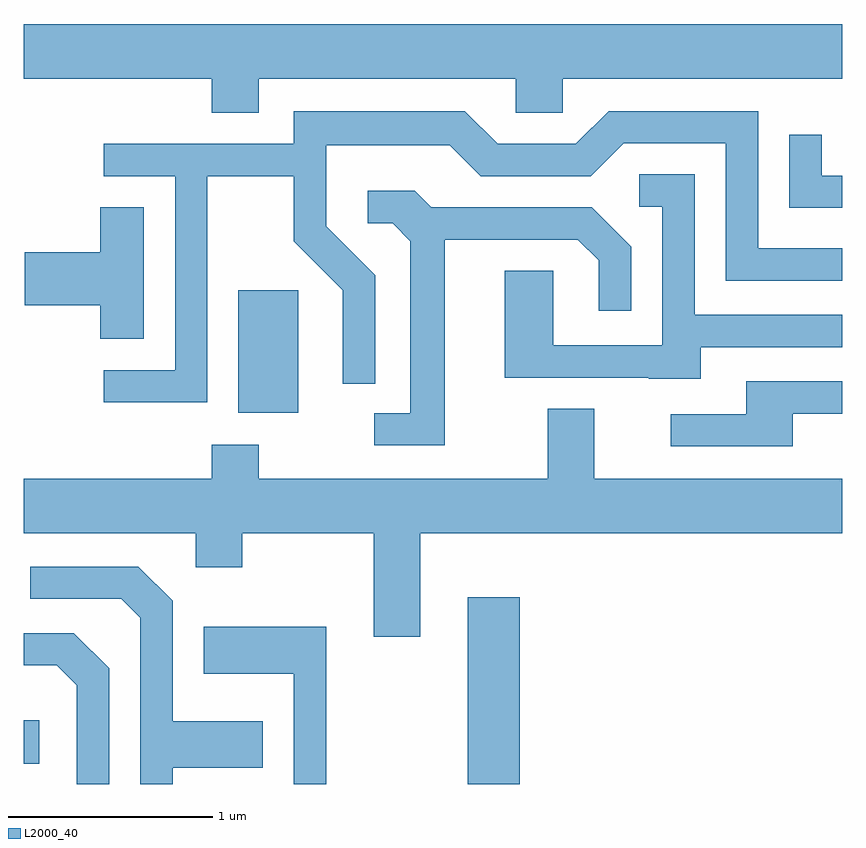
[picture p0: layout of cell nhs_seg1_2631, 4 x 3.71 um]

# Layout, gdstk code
import gdstk
lib = gdstk.Library(unit=1e-6, precision=1e-09)
def R(c, l, rs):  # rectangles x0, y0, x1, y1
    for r in rs: c.add(gdstk.rectangle(r[:2], r[2:], *l))
def P(c, l, *ps):  # polygons
    for p in ps: c.add(gdstk.Polygon(p, *l))
L2000_40 = (2000, 40)

nhs_seg1_2631 = lib.new_cell('nhs_seg1_2631')
R(nhs_seg1_2631, L2000_40, [(267.781,871.712,268.034,872.624), (265.611,871.811,265.689,872.024), (266.661,873.526,266.954,874.124)])
P(nhs_seg1_2631, L2000_40, [(266.759,875.156),(268.016,875.156),(268.016,874.991),(268.244,874.991),(268.244,875.156),(269.611,875.156),(269.611,875.424),(265.611,875.424),(265.611,875.156),(266.531,875.156),(266.531,874.991),(266.759,874.991)],
  [(266.509,874.681),(266.931,874.681),(266.931,874.364),(267.171,874.124),(267.171,873.668),(267.329,873.668),(267.329,874.197),(267.089,874.437),(267.089,874.831),(267.694,874.831),(267.844,874.681),(268.382,874.681),(268.542,874.841),(269.041,874.841),(269.041,874.171),(269.611,874.171),(269.611,874.329),(269.199,874.329),(269.199,874.999),(268.469,874.999),(268.309,874.839),(267.927,874.839),(267.767,874.999),(266.931,874.999),(266.931,874.839),(266.003,874.839),(266.003,874.681),(266.351,874.681),(266.351,873.734),(266.003,873.734),(266.003,873.576),(266.509,873.576)],
  [(269.611,874.684),(269.509,874.684),(269.509,874.883),(269.351,874.883),(269.351,874.526),(269.611,874.526)],
  [(268.919,873.846),(269.611,873.846),(269.611,874.004),(268.889,874.004),(268.889,874.689),(268.618,874.689),(268.618,874.531),(268.731,874.531),(268.731,873.854),(268.199,873.854),(268.199,874.219),(267.961,874.219),(267.961,873.696),(268.665,873.696),(268.665,873.691),(268.919,873.691)],
  [(267.669,874.371),(268.319,874.371),(268.421,874.269),(268.421,874.023),(268.579,874.023),(268.579,874.337),(268.387,874.529),(267.602,874.529),(267.522,874.609),(267.293,874.609),(267.293,874.451),(267.414,874.451),(267.501,874.364),(267.501,873.524),(267.323,873.524),(267.323,873.366),(267.669,873.366)],
  [(266.199,874.529),(265.986,874.529),(265.986,874.309),(265.616,874.309),(265.616,874.051),(265.986,874.051),(265.986,873.886),(266.199,873.886)],
  [(269.369,873.521),(269.611,873.521),(269.611,873.679),(269.141,873.679),(269.141,873.519),(268.773,873.519),(268.773,873.361),(269.369,873.361)],
  [(267.549,872.936),(269.611,872.936),(269.611,873.204),(268.399,873.204),(268.399,873.544),(268.171,873.544),(268.171,873.204),(266.759,873.204),(266.759,873.369),(266.531,873.369),(266.531,873.204),(265.611,873.204),(265.611,872.936),(266.451,872.936),(266.451,872.771),(266.679,872.771),(266.679,872.936),(267.321,872.936),(267.321,872.431),(267.549,872.431)],
  [(266.339,871.791),(266.779,871.791),(266.779,872.019),(266.339,872.019),(266.339,872.607),(266.172,872.774),(265.643,872.774),(265.643,872.616),(266.089,872.616),(266.181,872.524),(266.181,871.712),(266.339,871.712)],
  [(267.089,872.479),(266.491,872.479),(266.491,872.251),(266.931,872.251),(266.931,871.712),(267.089,871.712)],
  [(266.029,872.277),(265.857,872.449),(265.611,872.449),(265.611,872.291),(265.774,872.291),(265.871,872.194),(265.871,871.712),(266.029,871.712)])

lib.write_gds('nhs_seg1_2631.gds')
